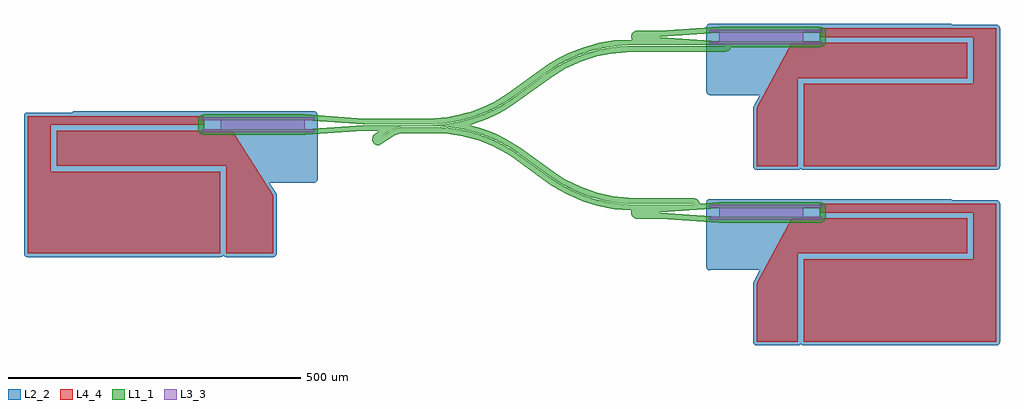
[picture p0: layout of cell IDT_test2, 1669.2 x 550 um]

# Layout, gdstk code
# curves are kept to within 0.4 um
import gdstk
lib = gdstk.Library(unit=1e-6, precision=1e-09)
def P(c, l, *ps):  # polygons
    for p in ps: c.add(gdstk.Polygon(p, *l))
L1_1 = (1, 1)
L2_2 = (2, 2)
L3_3 = (3, 3)
L4_4 = (4, 4)

idt_test2 = lib.new_cell('IDT_test2')
P(idt_test2, L1_1, [(101.6,172.25),(104.503,171.819),(107.944,169.98),(109.915,167.806),(111.408,164.201),(111.169,144.347),(107.944,139.52),(102.58,137.298),(-50.602,137.25),(-51.489,135.119),(-51.489,147.25),(101.6,147.25),(101.6,162.25),(-51.489,162.25),(-51.489,172.25)],
  [(102.58,-127.798),(105.427,-128.511),(108.671,-130.679),(110.839,-133.923),(111.6,-137.75),(111.169,-155.653),(108.671,-159.821),(103.551,-162.558),(-51.489,-162.728),(-51.489,-152.75),(101.6,-152.75),(101.6,-137.75),(-51.489,-137.75),(-51.489,-127.755)],
  [(-952.58,-12.702),(-957.944,-10.48),(-961.169,-5.653),(-961.552,13.23),(-960.419,16.964),(-957.944,19.98),(-955.427,21.489),(-951.6,22.25),(-778.8,22.25),(-678.455,15.35),(-565.792,15.369),(-535.813,17.634),(-515.11,21.448),(-505.395,24.139),(-505.395,13.549),(-518.992,10.374),(-534.435,7.729),(-562.533,5.429),(-678.8,5.35),(-778.8,12.25),(-951.6,12.25),(-951.6,-2.75),(-778.8,-2.75),(-678.8,4.15),(-556.209,4.467),(-531.153,6.994),(-505.395,12.308),(-505.395,-4.108),(-524.27,-0.74),(-546.209,1.333),(-614.511,1.327),(-623.83,-0.634),(-632.618,-4.306),(-638.542,-8.014),(-654.37,-20.254),(-635.792,-7.576),(-629.833,-4.252),(-620.483,-0.951),(-610.041,0.434),(-549.4,0.273),(-521.334,-2.38),(-505.395,-5.338),(-505.395,-15.726),(-534.773,-10.759),(-555.792,-9.569),(-610.78,-9.6),(-618.118,-10.668),(-625.126,-13.092),(-649.557,-29.021),(-652.254,-30.029),(-656.081,-30.108),(-659.658,-28.742),(-662.459,-26.133),(-664.076,-22.662),(-664.269,-18.838),(-661.889,-13.661),(-652.09,-5.85),(-678.455,-5.85),(-778.8,-12.75)],
  [(-494.821,27.067),(-475.105,34.447),(-456.114,43.53),(-432.996,57.596),(-362.842,108.07),(-345.999,118.179),(-328.442,126.992),(-303.977,136.678),(-275.709,144.507),(-249.747,148.786),(-220.482,150.444),(-221.2,155.35),(-220.019,160.064),(-217.544,163.08),(-213.151,165.158),(-171.545,165.35),(-71.2,172.25),(-51.489,172.25),(-51.489,162.25),(-71.2,162.25),(-171.2,155.35),(-211.2,155.35),(-211.2,154.15),(-171.2,154.15),(-71.2,147.25),(-51.489,147.25),(-51.489,135.119),(-54.055,131.514),(-59.419,129.292),(-229.422,129.074),(-256.363,126.527),(-279.935,121.723),(-305.724,113.522),(-333.085,101.065),(-356.203,86.998),(-418.336,41.976),(-437.502,29.643),(-451.895,21.843),(-466.75,14.962),(-497.045,4.227),(-481.331,-0.131),(-465.86,-5.486),(-450.871,-11.751),(-436.19,-18.996),(-411.022,-34.302),(-352.37,-76.787),(-334.666,-88.179),(-307.794,-101.659),(-279.444,-111.665),(-253.034,-117.568),(-226.127,-120.453),(-113.119,-120.804),(-110.272,-121.517),(-107.028,-123.685),(-104.86,-126.929),(-104.136,-129.999),(-71.2,-127.75),(-51.489,-127.755),(-51.489,-137.75),(-71.2,-137.75),(-171.2,-144.65),(-211.2,-144.65),(-211.2,-145.85),(-171.2,-145.85),(-71.2,-152.75),(-51.489,-152.75),(-51.489,-162.728),(-71.2,-162.75),(-171.545,-155.85),(-213.151,-155.658),(-217.544,-153.58),(-220.019,-150.564),(-221.152,-146.83),(-220.8,-141.869),(-250.069,-139.461),(-278.847,-133.784),(-303.972,-125.968),(-330.891,-114.319),(-345.289,-106.526),(-359.273,-97.774),(-420.529,-53.519),(-433.073,-45.222),(-456.869,-32.335),(-481.966,-22.215),(-505.395,-15.726),(-505.395,-5.338),(-490.726,-9.02),(-475.795,-13.768),(-449.783,-24.638),(-433.196,-33.487),(-419.915,-41.799),(-358.839,-85.931),(-340.307,-97.855),(-326.464,-105.353),(-312.177,-111.966),(-285.525,-121.562),(-257.96,-128.088),(-229.834,-131.462),(-214.099,-131.956),(-114.099,-131.956),(-114.099,-130.756),(-217.233,-130.736),(-236.009,-129.792),(-251.565,-127.926),(-266.973,-125.087),(-282.173,-121.286),(-300.053,-115.476),(-323.116,-105.668),(-345.077,-93.594),(-358.146,-84.951),(-416.642,-42.573),(-438.073,-29.348),(-454.957,-20.877),(-469.483,-14.807),(-487.374,-8.744),(-505.395,-4.108),(-505.395,12.308),(-491.36,16.415),(-476.548,21.748),(-450.842,33.648),(-426.642,48.373),(-364.446,93.439),(-348.7,103.711),(-335.018,111.345),(-320.884,118.105),(-303.404,125.026),(-288.473,129.774),(-260.961,135.924),(-232.93,138.929),(-60.399,139.244),(-60.399,140.444),(-229.844,140.266),(-254.929,138.054),(-282.721,132.571),(-297.839,128.179),(-315.572,121.669),(-332.764,113.841),(-346.607,106.343),(-365.139,94.419),(-429.915,47.599),(-443.196,39.287),(-456.973,31.826),(-479.911,21.728),(-505.395,13.549),(-505.395,24.139)])
P(idt_test2, L2_2, [(-12.4,33.5),(-11.678,36.353),(-1.329,55.5),(-86.4,55.5),(-89.228,56.208),(-91.692,58.672),(-92.4,61.5),(-92.4,171.5),(-91.389,174.833),(-88.142,177.242),(323.6,177.5),(325.896,177.043),(328.063,175.5),(404.188,175.471),(407.406,174.138),(409.342,171.242),(409.6,-66.5),(408.589,-69.833),(405.342,-72.242),(73.6,-72.5),(70.772,-71.792),(68.6,-69.815),(66.428,-71.792),(63.6,-72.5),(-8.142,-72.242),(-11.389,-69.833),(-12.4,-66.5)],
  [(-6.4,-372.5),(-8.696,-372.043),(-10.643,-370.743),(-12.371,-367.088),(-12.4,-266.5),(-11.678,-263.647),(-1.329,-244.5),(-86.4,-244.5),(-89.228,-243.792),(-91.389,-241.833),(-92.4,-238.5),(-92.4,-128.5),(-91.692,-125.672),(-89.228,-123.208),(-86.4,-122.5),(323.6,-122.5),(325.896,-122.957),(328.063,-124.5),(404.188,-124.529),(406.933,-125.511),(408.892,-127.672),(409.6,-130.5),(409.6,-366.5),(408.892,-369.328),(406.428,-371.792),(403.6,-372.5),(73.6,-372.5),(70.772,-371.792),(68.6,-369.815),(66.428,-371.792),(63.6,-372.5)],
  [(-1178.063,25.5),(-1175.896,27.043),(-1173.6,27.5),(-761.858,27.242),(-758.611,24.833),(-757.6,21.5),(-757.858,-90.242),(-759.794,-93.138),(-763.012,-94.471),(-839.852,-94.5),(-828.538,-112.279),(-827.627,-114.934),(-827.6,-215.5),(-828.611,-218.833),(-831.858,-221.242),(-913.6,-221.5),(-916.428,-220.792),(-918.6,-218.815),(-920.772,-220.792),(-923.6,-221.5),(-1255.342,-221.242),(-1258.589,-218.833),(-1259.6,-215.5),(-1259.342,21.242),(-1257.406,24.138),(-1254.188,25.471)])
P(idt_test2, L3_3, [(-68.845,-138.25),(-68.4,-138.25),(-68.4,-153),(-67.045,-153),(-67.045,-138.25),(-66.6,-138.25),(-66.6,-153),(-65.245,-153),(-65.245,-138.25),(-64.8,-138.25),(-64.8,-153),(-63.445,-153),(-63.445,-138.25),(-63,-138.25),(-63,-153),(-61.645,-153),(-61.645,-138.25),(-61.2,-138.25),(-61.2,-153),(-59.845,-153),(-59.845,-138.25),(-59.4,-138.25),(-59.4,-153),(-58.045,-153),(-58.045,-138.25),(-57.6,-138.25),(-57.6,-153),(-56.245,-153),(-56.245,-138.25),(-55.8,-138.25),(-55.8,-153),(-54.445,-153),(-54.445,-138.25),(-54,-138.25),(-54,-153),(-52.645,-153),(-52.645,-138.25),(-52.2,-138.25),(-52.2,-153),(-50.845,-153),(-50.845,-138.25),(-50.4,-138.25),(-50.4,-153),(-49.045,-153),(-49.045,-138.25),(-48.6,-138.25),(-48.6,-153),(-47.245,-153),(-47.245,-138.25),(-46.8,-138.25),(-46.8,-153),(-45.445,-153),(-45.445,-138.25),(-45,-138.25),(-45,-153),(-43.645,-153),(-43.645,-138.25),(-43.2,-138.25),(-43.2,-153),(-41.845,-153),(-41.845,-138.25),(-41.4,-138.25),(-41.4,-153),(-40.045,-153),(-40.045,-138.25),(-39.6,-138.25),(-39.6,-153),(-38.245,-153),(-38.245,-138.25),(-37.8,-138.25),(-37.8,-153),(-36.445,-153),(-36.445,-138.25),(-36,-138.25),(-36,-153),(-34.645,-153),(-34.645,-138.25),(-34.2,-138.25),(-34.2,-153),(-32.845,-153),(-32.845,-138.25),(-32.4,-138.25),(-32.4,-153),(-31.045,-153),(-31.045,-138.25),(-30.6,-138.25),(-30.6,-153),(-29.245,-153),(-29.245,-138.25),(-28.8,-138.25),(-28.8,-153),(-27.445,-153),(-27.445,-138.25),(-27,-138.25),(-27,-153),(-25.645,-153),(-25.645,-138.25),(-25.2,-138.25),(-25.2,-153),(-23.845,-153),(-23.845,-138.25),(-23.4,-138.25),(-23.4,-153),(-22.045,-153),(-22.045,-138.25),(-21.6,-138.25),(-21.6,-153),(-20.245,-153),(-20.245,-138.25),(-19.8,-138.25),(-19.8,-153),(-18.445,-153),(-18.445,-138.25),(-18,-138.25),(-18,-153),(-16.645,-153),(-16.645,-138.25),(-16.2,-138.25),(-16.2,-153),(-14.845,-153),(-14.845,-138.25),(-14.4,-138.25),(-14.4,-153),(-13.045,-153),(-13.045,-138.25),(-12.6,-138.25),(-12.6,-153),(-11.245,-153),(-11.245,-138.25),(-10.8,-138.25),(-10.8,-153),(-9.445,-153),(-9.445,-138.25),(-9,-138.25),(-9,-153),(-7.645,-153),(-7.645,-138.25),(-7.2,-138.25),(-7.2,-153),(-5.845,-153),(-5.845,-138.25),(-5.4,-138.25),(-5.4,-153),(-4.045,-153),(-4.045,-138.25),(-3.6,-138.25),(-3.6,-153),(-2.245,-153),(-2.245,-138.25),(-1.8,-138.25),(-1.8,-153),(-0.445,-153),(-0.445,-138.25),(0,-138.25),(0,-153),(1.355,-153),(1.355,-138.25),(1.8,-138.25),(1.8,-153),(3.155,-153),(3.155,-138.25),(3.6,-138.25),(3.6,-153),(4.955,-153),(4.955,-138.25),(5.4,-138.25),(5.4,-153),(6.755,-153),(6.755,-138.25),(7.2,-138.25),(7.2,-153),(8.555,-153),(8.555,-138.25),(9,-138.25),(9,-153),(10.355,-153),(10.355,-138.25),(10.8,-138.25),(10.8,-153),(12.155,-153),(12.155,-138.25),(12.6,-138.25),(12.6,-153),(13.955,-153),(13.955,-138.25),(14.4,-138.25),(14.4,-153),(15.755,-153),(15.755,-138.25),(16.2,-138.25),(16.2,-153),(17.555,-153),(17.555,-138.25),(18,-138.25),(18,-153),(19.355,-153),(19.355,-138.25),(19.8,-138.25),(19.8,-153),(21.155,-153),(21.155,-138.25),(21.6,-138.25),(21.6,-153),(22.955,-153),(22.955,-138.25),(23.4,-138.25),(23.4,-153),(24.755,-153),(24.755,-138.25),(25.2,-138.25),(25.2,-153),(26.555,-153),(26.555,-138.25),(27,-138.25),(27,-153),(28.355,-153),(28.355,-138.25),(28.8,-138.25),(28.8,-153),(30.155,-153),(30.155,-138.25),(30.6,-138.25),(30.6,-153),(31.955,-153),(31.955,-138.25),(32.4,-138.25),(32.4,-153),(33.755,-153),(33.755,-138.25),(34.2,-138.25),(34.2,-153),(35.555,-153),(35.555,-138.25),(36,-138.25),(36,-153),(37.355,-153),(37.355,-138.25),(37.8,-138.25),(37.8,-153),(39.155,-153),(39.155,-138.25),(39.6,-138.25),(39.6,-153),(40.955,-153),(40.955,-138.25),(41.4,-138.25),(41.4,-153),(42.755,-153),(42.755,-138.25),(43.2,-138.25),(43.2,-153),(44.555,-153),(44.555,-138.25),(45,-138.25),(45,-153),(46.355,-153),(46.355,-138.25),(46.8,-138.25),(46.8,-153),(48.155,-153),(48.155,-138.25),(48.6,-138.25),(48.6,-153),(49.955,-153),(49.955,-138.25),(50.4,-138.25),(50.4,-153),(51.755,-153),(51.755,-138.25),(52.2,-138.25),(52.2,-153),(53.555,-153),(53.555,-138.25),(54,-138.25),(54,-153),(55.355,-153),(55.355,-138.25),(55.8,-138.25),(55.8,-153),(57.155,-153),(57.155,-138.25),(57.6,-138.25),(57.6,-153),(58.955,-153),(58.955,-138.25),(59.4,-138.25),(59.4,-153),(60.755,-153),(60.755,-138.25),(61.2,-138.25),(61.2,-153),(62.555,-153),(62.555,-138.25),(63,-138.25),(63,-153),(64.355,-153),(64.355,-138.25),(64.8,-138.25),(64.8,-153),(66.155,-153),(66.155,-138.25),(66.6,-138.25),(66.6,-153),(67.955,-153),(67.955,-138.25),(68.4,-138.25),(68.4,-153),(69.755,-153),(69.755,-138.25),(70.2,-138.25),(70.2,-153),(71.555,-153),(71.555,-138.25),(72,-138.25),(72,-153),(105.6,-153),(105.6,-158),(-86.4,-158),(-86.4,-153),(-70.645,-153),(-70.645,-138.25),(-70.2,-138.25),(-70.2,-153),(-68.845,-153),(-68.845,-138.25)],
  [(-56.7,-152.25),(-57.145,-152.25),(-57.145,-137.5),(-58.5,-137.5),(-58.5,-152.25),(-58.945,-152.25),(-58.945,-137.5),(-60.3,-137.5),(-60.3,-152.25),(-60.745,-152.25),(-60.745,-137.5),(-62.1,-137.5),(-62.1,-152.25),(-62.545,-152.25),(-62.545,-137.5),(-63.9,-137.5),(-63.9,-152.25),(-64.345,-152.25),(-64.345,-137.5),(-65.7,-137.5),(-65.7,-152.25),(-66.145,-152.25),(-66.145,-137.5),(-67.5,-137.5),(-67.5,-152.25),(-67.945,-152.25),(-67.945,-137.5),(-69.3,-137.5),(-69.3,-152.25),(-69.745,-152.25),(-69.745,-137.5),(-86.4,-137.5),(-86.4,-132.5),(105.6,-132.5),(105.6,-137.5),(72.9,-137.5),(72.9,-152.25),(72.455,-152.25),(72.455,-137.5),(71.1,-137.5),(71.1,-152.25),(70.655,-152.25),(70.655,-137.5),(69.3,-137.5),(69.3,-152.25),(68.855,-152.25),(68.855,-137.5),(67.5,-137.5),(67.5,-152.25),(67.055,-152.25),(67.055,-137.5),(65.7,-137.5),(65.7,-152.25),(65.255,-152.25),(65.255,-137.5),(63.9,-137.5),(63.9,-152.25),(63.455,-152.25),(63.455,-137.5),(62.1,-137.5),(62.1,-152.25),(61.655,-152.25),(61.655,-137.5),(60.3,-137.5),(60.3,-152.25),(59.855,-152.25),(59.855,-137.5),(58.5,-137.5),(58.5,-152.25),(58.055,-152.25),(58.055,-137.5),(56.7,-137.5),(56.7,-152.25),(56.255,-152.25),(56.255,-137.5),(54.9,-137.5),(54.9,-152.25),(54.455,-152.25),(54.455,-137.5),(53.1,-137.5),(53.1,-152.25),(52.655,-152.25),(52.655,-137.5),(51.3,-137.5),(51.3,-152.25),(50.855,-152.25),(50.855,-137.5),(49.5,-137.5),(49.5,-152.25),(49.055,-152.25),(49.055,-137.5),(47.7,-137.5),(47.7,-152.25),(47.255,-152.25),(47.255,-137.5),(45.9,-137.5),(45.9,-152.25),(45.455,-152.25),(45.455,-137.5),(44.1,-137.5),(44.1,-152.25),(43.655,-152.25),(43.655,-137.5),(42.3,-137.5),(42.3,-152.25),(41.855,-152.25),(41.855,-137.5),(40.5,-137.5),(40.5,-152.25),(40.055,-152.25),(40.055,-137.5),(38.7,-137.5),(38.7,-152.25),(38.255,-152.25),(38.255,-137.5),(36.9,-137.5),(36.9,-152.25),(36.455,-152.25),(36.455,-137.5),(35.1,-137.5),(35.1,-152.25),(34.655,-152.25),(34.655,-137.5),(33.3,-137.5),(33.3,-152.25),(32.855,-152.25),(32.855,-137.5),(31.5,-137.5),(31.5,-152.25),(31.055,-152.25),(31.055,-137.5),(29.7,-137.5),(29.7,-152.25),(29.255,-152.25),(29.255,-137.5),(27.9,-137.5),(27.9,-152.25),(27.455,-152.25),(27.455,-137.5),(26.1,-137.5),(26.1,-152.25),(25.655,-152.25),(25.655,-137.5),(24.3,-137.5),(24.3,-152.25),(23.855,-152.25),(23.855,-137.5),(22.5,-137.5),(22.5,-152.25),(22.055,-152.25),(22.055,-137.5),(20.7,-137.5),(20.7,-152.25),(20.255,-152.25),(20.255,-137.5),(18.9,-137.5),(18.9,-152.25),(18.455,-152.25),(18.455,-137.5),(17.1,-137.5),(17.1,-152.25),(16.655,-152.25),(16.655,-137.5),(15.3,-137.5),(15.3,-152.25),(14.855,-152.25),(14.855,-137.5),(13.5,-137.5),(13.5,-152.25),(13.055,-152.25),(13.055,-137.5),(11.7,-137.5),(11.7,-152.25),(11.255,-152.25),(11.255,-137.5),(9.9,-137.5),(9.9,-152.25),(9.455,-152.25),(9.455,-137.5),(8.1,-137.5),(8.1,-152.25),(7.655,-152.25),(7.655,-137.5),(6.3,-137.5),(6.3,-152.25),(5.855,-152.25),(5.855,-137.5),(4.5,-137.5),(4.5,-152.25),(4.055,-152.25),(4.055,-137.5),(2.7,-137.5),(2.7,-152.25),(2.255,-152.25),(2.255,-137.5),(0.9,-137.5),(0.9,-152.25),(0.455,-152.25),(0.455,-137.5),(-0.9,-137.5),(-0.9,-152.25),(-1.345,-152.25),(-1.345,-137.5),(-2.7,-137.5),(-2.7,-152.25),(-3.145,-152.25),(-3.145,-137.5),(-4.5,-137.5),(-4.5,-152.25),(-4.945,-152.25),(-4.945,-137.5),(-6.3,-137.5),(-6.3,-152.25),(-6.745,-152.25),(-6.745,-137.5),(-8.1,-137.5),(-8.1,-152.25),(-8.545,-152.25),(-8.545,-137.5),(-9.9,-137.5),(-9.9,-152.25),(-10.345,-152.25),(-10.345,-137.5),(-11.7,-137.5),(-11.7,-152.25),(-12.145,-152.25),(-12.145,-137.5),(-13.5,-137.5),(-13.5,-152.25),(-13.945,-152.25),(-13.945,-137.5),(-15.3,-137.5),(-15.3,-152.25),(-15.745,-152.25),(-15.745,-137.5),(-17.1,-137.5),(-17.1,-152.25),(-17.545,-152.25),(-17.545,-137.5),(-18.9,-137.5),(-18.9,-152.25),(-19.345,-152.25),(-19.345,-137.5),(-20.7,-137.5),(-20.7,-152.25),(-21.145,-152.25),(-21.145,-137.5),(-22.5,-137.5),(-22.5,-152.25),(-22.945,-152.25),(-22.945,-137.5),(-24.3,-137.5),(-24.3,-152.25),(-24.745,-152.25),(-24.745,-137.5),(-26.1,-137.5),(-26.1,-152.25),(-26.545,-152.25),(-26.545,-137.5),(-27.9,-137.5),(-27.9,-152.25),(-28.345,-152.25),(-28.345,-137.5),(-29.7,-137.5),(-29.7,-152.25),(-30.145,-152.25),(-30.145,-137.5),(-31.5,-137.5),(-31.5,-152.25),(-31.945,-152.25),(-31.945,-137.5),(-33.3,-137.5),(-33.3,-152.25),(-33.745,-152.25),(-33.745,-137.5),(-35.1,-137.5),(-35.1,-152.25),(-35.545,-152.25),(-35.545,-137.5),(-36.9,-137.5),(-36.9,-152.25),(-37.345,-152.25),(-37.345,-137.5),(-38.7,-137.5),(-38.7,-152.25),(-39.145,-152.25),(-39.145,-137.5),(-40.5,-137.5),(-40.5,-152.25),(-40.945,-152.25),(-40.945,-137.5),(-42.3,-137.5),(-42.3,-152.25),(-42.745,-152.25),(-42.745,-137.5),(-44.1,-137.5),(-44.1,-152.25),(-44.545,-152.25),(-44.545,-137.5),(-45.9,-137.5),(-45.9,-152.25),(-46.345,-152.25),(-46.345,-137.5),(-47.7,-137.5),(-47.7,-152.25),(-48.145,-152.25),(-48.145,-137.5),(-49.5,-137.5),(-49.5,-152.25),(-49.945,-152.25),(-49.945,-137.5),(-51.3,-137.5),(-51.3,-152.25),(-51.745,-152.25),(-51.745,-137.5),(-53.1,-137.5),(-53.1,-152.25),(-53.545,-152.25),(-53.545,-137.5),(-54.9,-137.5),(-54.9,-152.25),(-55.345,-152.25),(-55.345,-137.5),(-56.7,-137.5),(-56.7,-152.25)],
  [(-898.6,11.75),(-898.155,11.75),(-898.155,-3),(-896.8,-3),(-896.8,11.75),(-896.355,11.75),(-896.355,-3),(-895,-3),(-895,11.75),(-894.555,11.75),(-894.555,-3),(-893.2,-3),(-893.2,11.75),(-892.755,11.75),(-892.755,-3),(-891.4,-3),(-891.4,11.75),(-890.955,11.75),(-890.955,-3),(-889.6,-3),(-889.6,11.75),(-889.155,11.75),(-889.155,-3),(-887.8,-3),(-887.8,11.75),(-887.355,11.75),(-887.355,-3),(-886,-3),(-886,11.75),(-885.555,11.75),(-885.555,-3),(-884.2,-3),(-884.2,11.75),(-883.755,11.75),(-883.755,-3),(-882.4,-3),(-882.4,11.75),(-881.955,11.75),(-881.955,-3),(-880.6,-3),(-880.6,11.75),(-880.155,11.75),(-880.155,-3),(-878.8,-3),(-878.8,11.75),(-878.355,11.75),(-878.355,-3),(-877,-3),(-877,11.75),(-876.555,11.75),(-876.555,-3),(-875.2,-3),(-875.2,11.75),(-874.755,11.75),(-874.755,-3),(-873.4,-3),(-873.4,11.75),(-872.955,11.75),(-872.955,-3),(-871.6,-3),(-871.6,11.75),(-871.155,11.75),(-871.155,-3),(-869.8,-3),(-869.8,11.75),(-869.355,11.75),(-869.355,-3),(-868,-3),(-868,11.75),(-867.555,11.75),(-867.555,-3),(-866.2,-3),(-866.2,11.75),(-865.755,11.75),(-865.755,-3),(-864.4,-3),(-864.4,11.75),(-863.955,11.75),(-863.955,-3),(-862.6,-3),(-862.6,11.75),(-862.155,11.75),(-862.155,-3),(-860.8,-3),(-860.8,11.75),(-860.355,11.75),(-860.355,-3),(-859,-3),(-859,11.75),(-858.555,11.75),(-858.555,-3),(-857.2,-3),(-857.2,11.75),(-856.755,11.75),(-856.755,-3),(-855.4,-3),(-855.4,11.75),(-854.955,11.75),(-854.955,-3),(-853.6,-3),(-853.6,11.75),(-853.155,11.75),(-853.155,-3),(-851.8,-3),(-851.8,11.75),(-851.355,11.75),(-851.355,-3),(-850,-3),(-850,11.75),(-849.555,11.75),(-849.555,-3),(-848.2,-3),(-848.2,11.75),(-847.755,11.75),(-847.755,-3),(-846.4,-3),(-846.4,11.75),(-845.955,11.75),(-845.955,-3),(-844.6,-3),(-844.6,11.75),(-844.155,11.75),(-844.155,-3),(-842.8,-3),(-842.8,11.75),(-842.355,11.75),(-842.355,-3),(-841,-3),(-841,11.75),(-840.555,11.75),(-840.555,-3),(-839.2,-3),(-839.2,11.75),(-838.755,11.75),(-838.755,-3),(-837.4,-3),(-837.4,11.75),(-836.955,11.75),(-836.955,-3),(-835.6,-3),(-835.6,11.75),(-835.155,11.75),(-835.155,-3),(-833.8,-3),(-833.8,11.75),(-833.355,11.75),(-833.355,-3),(-832,-3),(-832,11.75),(-831.555,11.75),(-831.555,-3),(-830.2,-3),(-830.2,11.75),(-829.755,11.75),(-829.755,-3),(-828.4,-3),(-828.4,11.75),(-827.955,11.75),(-827.955,-3),(-826.6,-3),(-826.6,11.75),(-826.155,11.75),(-826.155,-3),(-824.8,-3),(-824.8,11.75),(-824.355,11.75),(-824.355,-3),(-823,-3),(-823,11.75),(-822.555,11.75),(-822.555,-3),(-821.2,-3),(-821.2,11.75),(-820.755,11.75),(-820.755,-3),(-819.4,-3),(-819.4,11.75),(-818.955,11.75),(-818.955,-3),(-817.6,-3),(-817.6,11.75),(-817.155,11.75),(-817.155,-3),(-815.8,-3),(-815.8,11.75),(-815.355,11.75),(-815.355,-3),(-814,-3),(-814,11.75),(-813.555,11.75),(-813.555,-3),(-812.2,-3),(-812.2,11.75),(-811.755,11.75),(-811.755,-3),(-810.4,-3),(-810.4,11.75),(-809.955,11.75),(-809.955,-3),(-808.6,-3),(-808.6,11.75),(-808.155,11.75),(-808.155,-3),(-806.8,-3),(-806.8,11.75),(-806.355,11.75),(-806.355,-3),(-805,-3),(-805,11.75),(-804.555,11.75),(-804.555,-3),(-803.2,-3),(-803.2,11.75),(-802.755,11.75),(-802.755,-3),(-801.4,-3),(-801.4,11.75),(-800.955,11.75),(-800.955,-3),(-799.6,-3),(-799.6,11.75),(-799.155,11.75),(-799.155,-3),(-797.8,-3),(-797.8,11.75),(-797.355,11.75),(-797.355,-3),(-796,-3),(-796,11.75),(-795.555,11.75),(-795.555,-3),(-794.2,-3),(-794.2,11.75),(-793.755,11.75),(-793.755,-3),(-792.4,-3),(-792.4,11.75),(-791.955,11.75),(-791.955,-3),(-790.6,-3),(-790.6,11.75),(-790.155,11.75),(-790.155,-3),(-788.8,-3),(-788.8,11.75),(-788.355,11.75),(-788.355,-3),(-787,-3),(-787,11.75),(-786.555,11.75),(-786.555,-3),(-785.2,-3),(-785.2,11.75),(-784.755,11.75),(-784.755,-3),(-783.4,-3),(-783.4,11.75),(-782.955,11.75),(-782.955,-3),(-781.6,-3),(-781.6,11.75),(-781.155,11.75),(-781.155,-3),(-779.8,-3),(-779.8,11.75),(-779.355,11.75),(-779.355,-3),(-763.6,-3),(-763.6,-8),(-955.6,-8),(-955.6,-3),(-922,-3),(-922,11.75),(-921.555,11.75),(-921.555,-3),(-920.2,-3),(-920.2,11.75),(-919.755,11.75),(-919.755,-3),(-918.4,-3),(-918.4,11.75),(-917.955,11.75),(-917.955,-3),(-916.6,-3),(-916.6,11.75),(-916.155,11.75),(-916.155,-3),(-914.8,-3),(-914.8,11.75),(-914.355,11.75),(-914.355,-3),(-913,-3),(-913,11.75),(-912.555,11.75),(-912.555,-3),(-911.2,-3),(-911.2,11.75),(-910.755,11.75),(-910.755,-3),(-909.4,-3),(-909.4,11.75),(-908.955,11.75),(-908.955,-3),(-907.6,-3),(-907.6,11.75),(-907.155,11.75),(-907.155,-3),(-905.8,-3),(-905.8,11.75),(-905.355,11.75),(-905.355,-3),(-904,-3),(-904,11.75),(-903.555,11.75),(-903.555,-3),(-902.2,-3),(-902.2,11.75),(-901.755,11.75),(-901.755,-3),(-900.4,-3),(-900.4,11.75),(-899.955,11.75),(-899.955,-3),(-898.6,-3),(-898.6,11.75)],
  [(-895.455,-2.25),(-895.9,-2.25),(-895.9,12.5),(-897.255,12.5),(-897.255,-2.25),(-897.7,-2.25),(-897.7,12.5),(-899.055,12.5),(-899.055,-2.25),(-899.5,-2.25),(-899.5,12.5),(-900.855,12.5),(-900.855,-2.25),(-901.3,-2.25),(-901.3,12.5),(-902.655,12.5),(-902.655,-2.25),(-903.1,-2.25),(-903.1,12.5),(-904.455,12.5),(-904.455,-2.25),(-904.9,-2.25),(-904.9,12.5),(-906.255,12.5),(-906.255,-2.25),(-906.7,-2.25),(-906.7,12.5),(-908.055,12.5),(-908.055,-2.25),(-908.5,-2.25),(-908.5,12.5),(-909.855,12.5),(-909.855,-2.25),(-910.3,-2.25),(-910.3,12.5),(-911.655,12.5),(-911.655,-2.25),(-912.1,-2.25),(-912.1,12.5),(-913.455,12.5),(-913.455,-2.25),(-913.9,-2.25),(-913.9,12.5),(-915.255,12.5),(-915.255,-2.25),(-915.7,-2.25),(-915.7,12.5),(-917.055,12.5),(-917.055,-2.25),(-917.5,-2.25),(-917.5,12.5),(-918.855,12.5),(-918.855,-2.25),(-919.3,-2.25),(-919.3,12.5),(-920.655,12.5),(-920.655,-2.25),(-921.1,-2.25),(-921.1,12.5),(-922.455,12.5),(-922.455,-2.25),(-922.9,-2.25),(-922.9,12.5),(-955.6,12.5),(-955.6,17.5),(-763.6,17.5),(-763.6,12.5),(-780.255,12.5),(-780.255,-2.25),(-780.7,-2.25),(-780.7,12.5),(-782.055,12.5),(-782.055,-2.25),(-782.5,-2.25),(-782.5,12.5),(-783.855,12.5),(-783.855,-2.25),(-784.3,-2.25),(-784.3,12.5),(-785.655,12.5),(-785.655,-2.25),(-786.1,-2.25),(-786.1,12.5),(-787.455,12.5),(-787.455,-2.25),(-787.9,-2.25),(-787.9,12.5),(-789.255,12.5),(-789.255,-2.25),(-789.7,-2.25),(-789.7,12.5),(-791.055,12.5),(-791.055,-2.25),(-791.5,-2.25),(-791.5,12.5),(-792.855,12.5),(-792.855,-2.25),(-793.3,-2.25),(-793.3,12.5),(-794.655,12.5),(-794.655,-2.25),(-795.1,-2.25),(-795.1,12.5),(-796.455,12.5),(-796.455,-2.25),(-796.9,-2.25),(-796.9,12.5),(-798.255,12.5),(-798.255,-2.25),(-798.7,-2.25),(-798.7,12.5),(-800.055,12.5),(-800.055,-2.25),(-800.5,-2.25),(-800.5,12.5),(-801.855,12.5),(-801.855,-2.25),(-802.3,-2.25),(-802.3,12.5),(-803.655,12.5),(-803.655,-2.25),(-804.1,-2.25),(-804.1,12.5),(-805.455,12.5),(-805.455,-2.25),(-805.9,-2.25),(-805.9,12.5),(-807.255,12.5),(-807.255,-2.25),(-807.7,-2.25),(-807.7,12.5),(-809.055,12.5),(-809.055,-2.25),(-809.5,-2.25),(-809.5,12.5),(-810.855,12.5),(-810.855,-2.25),(-811.3,-2.25),(-811.3,12.5),(-812.655,12.5),(-812.655,-2.25),(-813.1,-2.25),(-813.1,12.5),(-814.455,12.5),(-814.455,-2.25),(-814.9,-2.25),(-814.9,12.5),(-816.255,12.5),(-816.255,-2.25),(-816.7,-2.25),(-816.7,12.5),(-818.055,12.5),(-818.055,-2.25),(-818.5,-2.25),(-818.5,12.5),(-819.855,12.5),(-819.855,-2.25),(-820.3,-2.25),(-820.3,12.5),(-821.655,12.5),(-821.655,-2.25),(-822.1,-2.25),(-822.1,12.5),(-823.455,12.5),(-823.455,-2.25),(-823.9,-2.25),(-823.9,12.5),(-825.255,12.5),(-825.255,-2.25),(-825.7,-2.25),(-825.7,12.5),(-827.055,12.5),(-827.055,-2.25),(-827.5,-2.25),(-827.5,12.5),(-828.855,12.5),(-828.855,-2.25),(-829.3,-2.25),(-829.3,12.5),(-830.655,12.5),(-830.655,-2.25),(-831.1,-2.25),(-831.1,12.5),(-832.455,12.5),(-832.455,-2.25),(-832.9,-2.25),(-832.9,12.5),(-834.255,12.5),(-834.255,-2.25),(-834.7,-2.25),(-834.7,12.5),(-836.055,12.5),(-836.055,-2.25),(-836.5,-2.25),(-836.5,12.5),(-837.855,12.5),(-837.855,-2.25),(-838.3,-2.25),(-838.3,12.5),(-839.655,12.5),(-839.655,-2.25),(-840.1,-2.25),(-840.1,12.5),(-841.455,12.5),(-841.455,-2.25),(-841.9,-2.25),(-841.9,12.5),(-843.255,12.5),(-843.255,-2.25),(-843.7,-2.25),(-843.7,12.5),(-845.055,12.5),(-845.055,-2.25),(-845.5,-2.25),(-845.5,12.5),(-846.855,12.5),(-846.855,-2.25),(-847.3,-2.25),(-847.3,12.5),(-848.655,12.5),(-848.655,-2.25),(-849.1,-2.25),(-849.1,12.5),(-850.455,12.5),(-850.455,-2.25),(-850.9,-2.25),(-850.9,12.5),(-852.255,12.5),(-852.255,-2.25),(-852.7,-2.25),(-852.7,12.5),(-854.055,12.5),(-854.055,-2.25),(-854.5,-2.25),(-854.5,12.5),(-855.855,12.5),(-855.855,-2.25),(-856.3,-2.25),(-856.3,12.5),(-857.655,12.5),(-857.655,-2.25),(-858.1,-2.25),(-858.1,12.5),(-859.455,12.5),(-859.455,-2.25),(-859.9,-2.25),(-859.9,12.5),(-861.255,12.5),(-861.255,-2.25),(-861.7,-2.25),(-861.7,12.5),(-863.055,12.5),(-863.055,-2.25),(-863.5,-2.25),(-863.5,12.5),(-864.855,12.5),(-864.855,-2.25),(-865.3,-2.25),(-865.3,12.5),(-866.655,12.5),(-866.655,-2.25),(-867.1,-2.25),(-867.1,12.5),(-868.455,12.5),(-868.455,-2.25),(-868.9,-2.25),(-868.9,12.5),(-870.255,12.5),(-870.255,-2.25),(-870.7,-2.25),(-870.7,12.5),(-872.055,12.5),(-872.055,-2.25),(-872.5,-2.25),(-872.5,12.5),(-873.855,12.5),(-873.855,-2.25),(-874.3,-2.25),(-874.3,12.5),(-875.655,12.5),(-875.655,-2.25),(-876.1,-2.25),(-876.1,12.5),(-877.455,12.5),(-877.455,-2.25),(-877.9,-2.25),(-877.9,12.5),(-879.255,12.5),(-879.255,-2.25),(-879.7,-2.25),(-879.7,12.5),(-881.055,12.5),(-881.055,-2.25),(-881.5,-2.25),(-881.5,12.5),(-882.855,12.5),(-882.855,-2.25),(-883.3,-2.25),(-883.3,12.5),(-884.655,12.5),(-884.655,-2.25),(-885.1,-2.25),(-885.1,12.5),(-886.455,12.5),(-886.455,-2.25),(-886.9,-2.25),(-886.9,12.5),(-888.255,12.5),(-888.255,-2.25),(-888.7,-2.25),(-888.7,12.5),(-890.055,12.5),(-890.055,-2.25),(-890.5,-2.25),(-890.5,12.5),(-891.855,12.5),(-891.855,-2.25),(-892.3,-2.25),(-892.3,12.5),(-893.655,12.5),(-893.655,-2.25),(-894.1,-2.25),(-894.1,12.5),(-895.455,12.5),(-895.455,-2.25)],
  [(-68.4,161.75),(-68.4,147),(-67.045,147),(-67.045,161.75),(-66.6,161.75),(-66.6,147),(-65.245,147),(-65.245,161.75),(-64.8,161.75),(-64.8,147),(-63.445,147),(-63.445,161.75),(-63,161.75),(-63,147),(-61.645,147),(-61.645,161.75),(-61.2,161.75),(-61.2,147),(-59.845,147),(-59.845,161.75),(-59.4,161.75),(-59.4,147),(-58.045,147),(-58.045,161.75),(-57.6,161.75),(-57.6,147),(-56.245,147),(-56.245,161.75),(-55.8,161.75),(-55.8,147),(-54.445,147),(-54.445,161.75),(-54,161.75),(-54,147),(-52.645,147),(-52.645,161.75),(-52.2,161.75),(-52.2,147),(-50.845,147),(-50.845,161.75),(-50.4,161.75),(-50.4,147),(-49.045,147),(-49.045,161.75),(-48.6,161.75),(-48.6,147),(-47.245,147),(-47.245,161.75),(-46.8,161.75),(-46.8,147),(-45.445,147),(-45.445,161.75),(-45,161.75),(-45,147),(-43.645,147),(-43.645,161.75),(-43.2,161.75),(-43.2,147),(-41.845,147),(-41.845,161.75),(-41.4,161.75),(-41.4,147),(-40.045,147),(-40.045,161.75),(-39.6,161.75),(-39.6,147),(-38.245,147),(-38.245,161.75),(-37.8,161.75),(-37.8,147),(-36.445,147),(-36.445,161.75),(-36,161.75),(-36,147),(-34.645,147),(-34.645,161.75),(-34.2,161.75),(-34.2,147),(-32.845,147),(-32.845,161.75),(-32.4,161.75),(-32.4,147),(-31.045,147),(-31.045,161.75),(-30.6,161.75),(-30.6,147),(-29.245,147),(-29.245,161.75),(-28.8,161.75),(-28.8,147),(-27.445,147),(-27.445,161.75),(-27,161.75),(-27,147),(-25.645,147),(-25.645,161.75),(-25.2,161.75),(-25.2,147),(-23.845,147),(-23.845,161.75),(-23.4,161.75),(-23.4,147),(-22.045,147),(-22.045,161.75),(-21.6,161.75),(-21.6,147),(-20.245,147),(-20.245,161.75),(-19.8,161.75),(-19.8,147),(-18.445,147),(-18.445,161.75),(-18,161.75),(-18,147),(-16.645,147),(-16.645,161.75),(-16.2,161.75),(-16.2,147),(-14.845,147),(-14.845,161.75),(-14.4,161.75),(-14.4,147),(-13.045,147),(-13.045,161.75),(-12.6,161.75),(-12.6,147),(-11.245,147),(-11.245,161.75),(-10.8,161.75),(-10.8,147),(-9.445,147),(-9.445,161.75),(-9,161.75),(-9,147),(-7.645,147),(-7.645,161.75),(-7.2,161.75),(-7.2,147),(-5.845,147),(-5.845,161.75),(-5.4,161.75),(-5.4,147),(-4.045,147),(-4.045,161.75),(-3.6,161.75),(-3.6,147),(-2.245,147),(-2.245,161.75),(-1.8,161.75),(-1.8,147),(-0.445,147),(-0.445,161.75),(0,161.75),(0,147),(1.355,147),(1.355,161.75),(1.8,161.75),(1.8,147),(3.155,147),(3.155,161.75),(3.6,161.75),(3.6,147),(4.955,147),(4.955,161.75),(5.4,161.75),(5.4,147),(6.755,147),(6.755,161.75),(7.2,161.75),(7.2,147),(8.555,147),(8.555,161.75),(9,161.75),(9,147),(10.355,147),(10.355,161.75),(10.8,161.75),(10.8,147),(12.155,147),(12.155,161.75),(12.6,161.75),(12.6,147),(13.955,147),(13.955,161.75),(14.4,161.75),(14.4,147),(15.755,147),(15.755,161.75),(16.2,161.75),(16.2,147),(17.555,147),(17.555,161.75),(18,161.75),(18,147),(19.355,147),(19.355,161.75),(19.8,161.75),(19.8,147),(21.155,147),(21.155,161.75),(21.6,161.75),(21.6,147),(22.955,147),(22.955,161.75),(23.4,161.75),(23.4,147),(24.755,147),(24.755,161.75),(25.2,161.75),(25.2,147),(26.555,147),(26.555,161.75),(27,161.75),(27,147),(28.355,147),(28.355,161.75),(28.8,161.75),(28.8,147),(30.155,147),(30.155,161.75),(30.6,161.75),(30.6,147),(31.955,147),(31.955,161.75),(32.4,161.75),(32.4,147),(33.755,147),(33.755,161.75),(34.2,161.75),(34.2,147),(35.555,147),(35.555,161.75),(36,161.75),(36,147),(37.355,147),(37.355,161.75),(37.8,161.75),(37.8,147),(39.155,147),(39.155,161.75),(39.6,161.75),(39.6,147),(40.955,147),(40.955,161.75),(41.4,161.75),(41.4,147),(42.755,147),(42.755,161.75),(43.2,161.75),(43.2,147),(44.555,147),(44.555,161.75),(45,161.75),(45,147),(46.355,147),(46.355,161.75),(46.8,161.75),(46.8,147),(48.155,147),(48.155,161.75),(48.6,161.75),(48.6,147),(49.955,147),(49.955,161.75),(50.4,161.75),(50.4,147),(51.755,147),(51.755,161.75),(52.2,161.75),(52.2,147),(53.555,147),(53.555,161.75),(54,161.75),(54,147),(55.355,147),(55.355,161.75),(55.8,161.75),(55.8,147),(57.155,147),(57.155,161.75),(57.6,161.75),(57.6,147),(58.955,147),(58.955,161.75),(59.4,161.75),(59.4,147),(60.755,147),(60.755,161.75),(61.2,161.75),(61.2,147),(62.555,147),(62.555,161.75),(63,161.75),(63,147),(64.355,147),(64.355,161.75),(64.8,161.75),(64.8,147),(66.155,147),(66.155,161.75),(66.6,161.75),(66.6,147),(67.955,147),(67.955,161.75),(68.4,161.75),(68.4,147),(69.755,147),(69.755,161.75),(70.2,161.75),(70.2,147),(71.555,147),(71.555,161.75),(72,161.75),(72,147),(105.6,147),(105.6,142),(-86.4,142),(-86.4,147),(-70.645,147),(-70.645,161.75),(-70.2,161.75),(-70.2,147),(-68.845,147),(-68.845,161.75),(-68.4,161.75)],
  [(-56.7,147.75),(-57.145,147.75),(-57.145,162.5),(-58.5,162.5),(-58.5,147.75),(-58.945,147.75),(-58.945,162.5),(-60.3,162.5),(-60.3,147.75),(-60.745,147.75),(-60.745,162.5),(-62.1,162.5),(-62.1,147.75),(-62.545,147.75),(-62.545,162.5),(-63.9,162.5),(-63.9,147.75),(-64.345,147.75),(-64.345,162.5),(-65.7,162.5),(-65.7,147.75),(-66.145,147.75),(-66.145,162.5),(-67.5,162.5),(-67.5,147.75),(-67.945,147.75),(-67.945,162.5),(-69.3,162.5),(-69.3,147.75),(-69.745,147.75),(-69.745,162.5),(-86.4,162.5),(-86.4,167.5),(105.6,167.5),(105.6,162.5),(72.9,162.5),(72.9,147.75),(72.455,147.75),(72.455,162.5),(71.1,162.5),(71.1,147.75),(70.655,147.75),(70.655,162.5),(69.3,162.5),(69.3,147.75),(68.855,147.75),(68.855,162.5),(67.5,162.5),(67.5,147.75),(67.055,147.75),(67.055,162.5),(65.7,162.5),(65.7,147.75),(65.255,147.75),(65.255,162.5),(63.9,162.5),(63.9,147.75),(63.455,147.75),(63.455,162.5),(62.1,162.5),(62.1,147.75),(61.655,147.75),(61.655,162.5),(60.3,162.5),(60.3,147.75),(59.855,147.75),(59.855,162.5),(58.5,162.5),(58.5,147.75),(58.055,147.75),(58.055,162.5),(56.7,162.5),(56.7,147.75),(56.255,147.75),(56.255,162.5),(54.9,162.5),(54.9,147.75),(54.455,147.75),(54.455,162.5),(53.1,162.5),(53.1,147.75),(52.655,147.75),(52.655,162.5),(51.3,162.5),(51.3,147.75),(50.855,147.75),(50.855,162.5),(49.5,162.5),(49.5,147.75),(49.055,147.75),(49.055,162.5),(47.7,162.5),(47.7,147.75),(47.255,147.75),(47.255,162.5),(45.9,162.5),(45.9,147.75),(45.455,147.75),(45.455,162.5),(44.1,162.5),(44.1,147.75),(43.655,147.75),(43.655,162.5),(42.3,162.5),(42.3,147.75),(41.855,147.75),(41.855,162.5),(40.5,162.5),(40.5,147.75),(40.055,147.75),(40.055,162.5),(38.7,162.5),(38.7,147.75),(38.255,147.75),(38.255,162.5),(36.9,162.5),(36.9,147.75),(36.455,147.75),(36.455,162.5),(35.1,162.5),(35.1,147.75),(34.655,147.75),(34.655,162.5),(33.3,162.5),(33.3,147.75),(32.855,147.75),(32.855,162.5),(31.5,162.5),(31.5,147.75),(31.055,147.75),(31.055,162.5),(29.7,162.5),(29.7,147.75),(29.255,147.75),(29.255,162.5),(27.9,162.5),(27.9,147.75),(27.455,147.75),(27.455,162.5),(26.1,162.5),(26.1,147.75),(25.655,147.75),(25.655,162.5),(24.3,162.5),(24.3,147.75),(23.855,147.75),(23.855,162.5),(22.5,162.5),(22.5,147.75),(22.055,147.75),(22.055,162.5),(20.7,162.5),(20.7,147.75),(20.255,147.75),(20.255,162.5),(18.9,162.5),(18.9,147.75),(18.455,147.75),(18.455,162.5),(17.1,162.5),(17.1,147.75),(16.655,147.75),(16.655,162.5),(15.3,162.5),(15.3,147.75),(14.855,147.75),(14.855,162.5),(13.5,162.5),(13.5,147.75),(13.055,147.75),(13.055,162.5),(11.7,162.5),(11.7,147.75),(11.255,147.75),(11.255,162.5),(9.9,162.5),(9.9,147.75),(9.455,147.75),(9.455,162.5),(8.1,162.5),(8.1,147.75),(7.655,147.75),(7.655,162.5),(6.3,162.5),(6.3,147.75),(5.855,147.75),(5.855,162.5),(4.5,162.5),(4.5,147.75),(4.055,147.75),(4.055,162.5),(2.7,162.5),(2.7,147.75),(2.255,147.75),(2.255,162.5),(0.9,162.5),(0.9,147.75),(0.455,147.75),(0.455,162.5),(-0.9,162.5),(-0.9,147.75),(-1.345,147.75),(-1.345,162.5),(-2.7,162.5),(-2.7,147.75),(-3.145,147.75),(-3.145,162.5),(-4.5,162.5),(-4.5,147.75),(-4.945,147.75),(-4.945,162.5),(-6.3,162.5),(-6.3,147.75),(-6.745,147.75),(-6.745,162.5),(-8.1,162.5),(-8.1,147.75),(-8.545,147.75),(-8.545,162.5),(-9.9,162.5),(-9.9,147.75),(-10.345,147.75),(-10.345,162.5),(-11.7,162.5),(-11.7,147.75),(-12.145,147.75),(-12.145,162.5),(-13.5,162.5),(-13.5,147.75),(-13.945,147.75),(-13.945,162.5),(-15.3,162.5),(-15.3,147.75),(-15.745,147.75),(-15.745,162.5),(-17.1,162.5),(-17.1,147.75),(-17.545,147.75),(-17.545,162.5),(-18.9,162.5),(-18.9,147.75),(-19.345,147.75),(-19.345,162.5),(-20.7,162.5),(-20.7,147.75),(-21.145,147.75),(-21.145,162.5),(-22.5,162.5),(-22.5,147.75),(-22.945,147.75),(-22.945,162.5),(-24.3,162.5),(-24.3,147.75),(-24.745,147.75),(-24.745,162.5),(-26.1,162.5),(-26.1,147.75),(-26.545,147.75),(-26.545,162.5),(-27.9,162.5),(-27.9,147.75),(-28.345,147.75),(-28.345,162.5),(-29.7,162.5),(-29.7,147.75),(-30.145,147.75),(-30.145,162.5),(-31.5,162.5),(-31.5,147.75),(-31.945,147.75),(-31.945,162.5),(-33.3,162.5),(-33.3,147.75),(-33.745,147.75),(-33.745,162.5),(-35.1,162.5),(-35.1,147.75),(-35.545,147.75),(-35.545,162.5),(-36.9,162.5),(-36.9,147.75),(-37.345,147.75),(-37.345,162.5),(-38.7,162.5),(-38.7,147.75),(-39.145,147.75),(-39.145,162.5),(-40.5,162.5),(-40.5,147.75),(-40.945,147.75),(-40.945,162.5),(-42.3,162.5),(-42.3,147.75),(-42.745,147.75),(-42.745,162.5),(-44.1,162.5),(-44.1,147.75),(-44.545,147.75),(-44.545,162.5),(-45.9,162.5),(-45.9,147.75),(-46.345,147.75),(-46.345,162.5),(-47.7,162.5),(-47.7,147.75),(-48.145,147.75),(-48.145,162.5),(-49.5,162.5),(-49.5,147.75),(-49.945,147.75),(-49.945,162.5),(-51.3,162.5),(-51.3,147.75),(-51.745,147.75),(-51.745,162.5),(-53.1,162.5),(-53.1,147.75),(-53.545,147.75),(-53.545,162.5),(-54.9,162.5),(-54.9,147.75),(-55.345,147.75),(-55.345,162.5),(-56.7,162.5),(-56.7,147.75)])
P(idt_test2, L4_4, [(63.6,-215.5),(63.6,-366.5),(-6.4,-366.5),(-6.4,-266.5),(53.6,-155.5),(353.6,-155.5),(353.6,-215.5),(63.6,-215.5)],
  [(73.6,-225.5),(363.6,-225.5),(363.6,-145.5),(101.6,-145.5),(101.6,-130.5),(403.6,-130.5),(403.6,-366.5),(73.6,-366.5),(73.6,-225.5)],
  [(-913.6,-65.5),(-1203.6,-65.5),(-1203.6,-5.5),(-903.6,-5.5),(-833.6,-115.5),(-833.6,-215.5),(-913.6,-215.5),(-913.6,-65.5)],
  [(-1213.6,-75.5),(-923.6,-75.5),(-923.6,-215.5),(-1253.6,-215.5),(-1253.6,19.5),(-951.6,19.5),(-951.6,4.5),(-1213.6,4.5),(-1213.6,-75.5)],
  [(63.6,-66.5),(-6.4,-66.5),(-6.4,33.5),(53.6,144.5),(353.6,144.5),(353.6,84.5),(63.6,84.5),(63.6,-66.5)],
  [(73.6,74.5),(363.6,74.5),(363.6,154.5),(101.6,154.5),(101.6,169.5),(403.6,169.5),(403.6,-66.5),(73.6,-66.5),(73.6,74.5)])

lib.write_gds('IDT_test2.gds')
